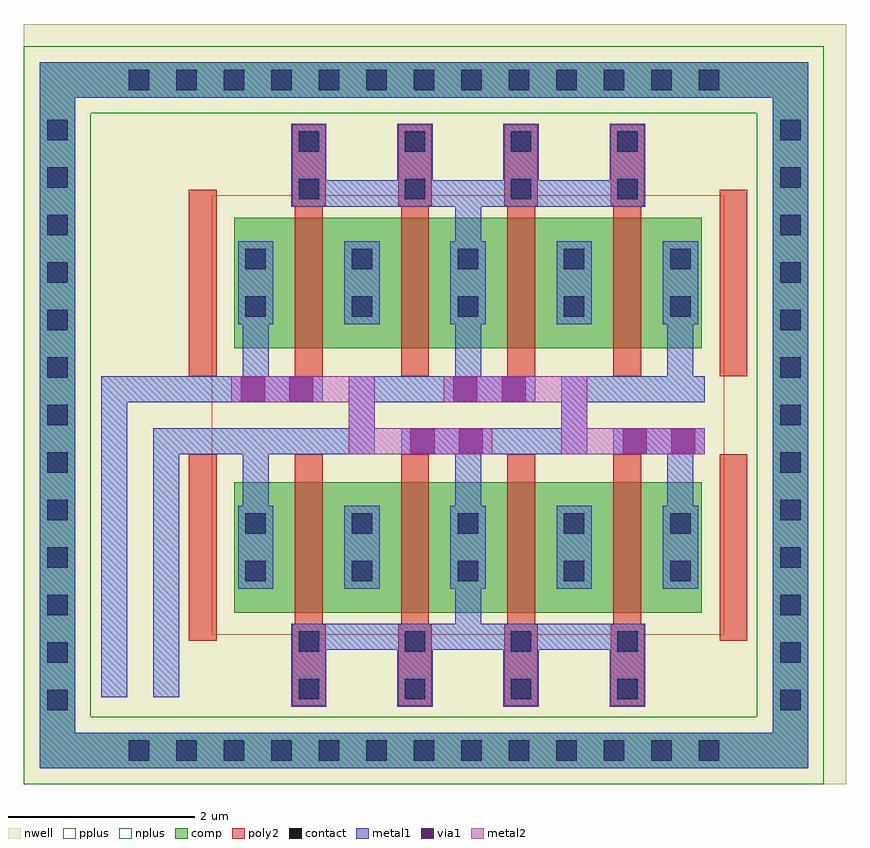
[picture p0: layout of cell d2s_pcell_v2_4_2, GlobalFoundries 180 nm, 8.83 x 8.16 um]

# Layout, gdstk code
from math import pi, radians
import gdstk
lib = gdstk.Library(unit=1e-6, precision=5e-09)
def R(c, l, rs):  # rectangles x0, y0, x1, y1
    for r in rs: c.add(gdstk.rectangle(r[:2], r[2:], *l))
def A(c, l, x, y, w, h, nx, ny, dx, dy):  # array of equal rectangles
    R(c, l, [(x+i*dx, y+j*dy, x+i*dx+w, y+j*dy+h) for i in range(nx) for j in range(ny)])
nwell = (21, 0)
comp = (22, 0)
poly2 = (30, 0)
pplus = (31, 0)
nplus = (32, 0)
contact = (33, 0)
metal1 = (34, 0)
via1 = (35, 0)
metal2 = (36, 0)

m1_m2_cross_pair = lib.new_cell('M1_M2_cross_pair')
R(m1_m2_cross_pair, via1, [(1.92,0.01,2.18,0.27), (2.44,0.01,2.7,0.27), (0.1,0.57,0.36,0.83), (0.62,0.57,0.88,0.83)])
m1_m2_cross_pair.add(gdstk.FlexPath([(0,0.14),(1.4,0.14),(1.4,0.7),(2.8,0.7)], 0.28, ends="flush", simple_path=True, layer=34, datatype=0))  # metal1
m1_m2_cross_pair.add(gdstk.FlexPath([(0,0.7),(0.98,0.7)], 0.28, ends="flush", simple_path=True, layer=34, datatype=0))  # metal1
m1_m2_cross_pair.add(gdstk.FlexPath([(1.82,0.14),(2.8,0.14)], 0.28, ends="flush", simple_path=True, layer=34, datatype=0))  # metal1
m1_m2_cross_pair.add(gdstk.FlexPath([(0,0.7),(1.4,0.7),(1.4,0.14),(2.8,0.14)], 0.28, ends="flush", simple_path=True, layer=36, datatype=0))  # metal2

d2s_pcell_1_2 = lib.new_cell('d2s_pcell_1$2')
R(d2s_pcell_1_2, comp, [(0,0.3,0.46,1.7), (0.46,0.3,1.14,1.7), (1.14,0.3,1.6,1.7)])
R(d2s_pcell_1_2, poly2, [(0.65,0,0.95,2)])
R(d2s_pcell_1_2, contact, [(0.12,0.635,0.34,0.855), (1.26,0.635,1.48,0.855), (0.12,1.145,0.34,1.365), (1.26,1.145,1.48,1.365)])
R(d2s_pcell_1_2, metal1, [(0.04,0.555,0.42,1.445), (1.18,0.555,1.56,1.445)])

d2s_pcell_v2_4 = lib.new_cell('d2s_pcell_v2_4')
A(d2s_pcell_v2_4, poly2, 1.11, 1.83, 0.36, 0.87, 4, 1, 1.14, 0)
R(d2s_pcell_v2_4, poly2, [(0,0,0.3,2), (5.7,0,6,2)])
A(d2s_pcell_v2_4, contact, 1.18, 1.9, 0.22, 0.22, 4, 2, 1.14, 0.51)
A(d2s_pcell_v2_4, metal1, 1.1, 1.82, 0.38, 0.89, 4, 1, 1.14, 0)
d2s_pcell_v2_4.add(gdstk.FlexPath([(3,1.445),(3,1.82)], 0.28, ends="flush", simple_path=True, layer=34, datatype=0))  # metal1
d2s_pcell_v2_4.add(gdstk.FlexPath([(1.48,1.96),(4.52,1.96)], 0.28, ends="flush", simple_path=True, layer=34, datatype=0))  # metal1
d2s_pcell_v2_4.add(gdstk.Reference(d2s_pcell_1_2, (1.63,0)))
d2s_pcell_v2_4.add(gdstk.Reference(d2s_pcell_1_2, (0.49,0)))
d2s_pcell_v2_4.add(gdstk.Reference(d2s_pcell_1_2, (3.91,0)))
d2s_pcell_v2_4.add(gdstk.Reference(d2s_pcell_1_2, (2.77,0)))

d2s_pcell_v2_4_2 = lib.new_cell('d2s_pcell_v2_4_2')
R(d2s_pcell_v2_4_2, nwell, [(0,0,8.83,8.16)])
R(d2s_pcell_v2_4_2, pplus, [(2.02,1.6,7.52,6.32)])
A(d2s_pcell_v2_4_2, contact, 1.125, 0.25, 0.22, 0.22, 13, 2, 0.51, 7.2)
A(d2s_pcell_v2_4_2, contact, 0.25, 0.79, 0.22, 0.22, 1, 13, 0, 0.51)
A(d2s_pcell_v2_4_2, contact, 8.12, 0.79, 0.22, 0.22, 1, 13, 0, 0.51)
d2s_pcell_v2_4_2.add(gdstk.FlexPath([(1.53,3.54),(1.53,0.93)], 0.28, ends="flush", simple_path=True, layer=34, datatype=0))  # metal1
d2s_pcell_v2_4_2.add(gdstk.FlexPath([(2.23,3.68),(1.39,3.68)], 0.28, ends="flush", simple_path=True, layer=34, datatype=0))  # metal1
d2s_pcell_v2_4_2.add(gdstk.FlexPath([(2.23,4.24),(1.11,4.24)], 0.28, ends="flush", simple_path=True, layer=34, datatype=0))  # metal1
d2s_pcell_v2_4_2.add(gdstk.FlexPath([(0.97,4.38),(0.97,0.93)], 0.28, ends="flush", simple_path=True, layer=34, datatype=0))  # metal1
d2s_pcell_v2_4_2.add(gdstk.FlexPath([(4.77,4.935),(4.77,4.38)], 0.28, ends="flush", simple_path=True, layer=34, datatype=0))  # metal1
d2s_pcell_v2_4_2.add(gdstk.FlexPath([(8.23,7.75),(8.23,0.36),(0.36,0.36),(0.36,7.56),(8.04,7.56)], 0.38, ends="flush", simple_path=True, layer=34, datatype=0))  # metal1
d2s_pcell_v2_4_2.add(gdstk.FlexPath([(4.77,3.54),(4.77,2.985)], 0.28, ends="flush", simple_path=True, layer=34, datatype=0))  # metal1
d2s_pcell_v2_4_2.add(gdstk.FlexPath([(2.49,3.54),(2.49,2.985)], 0.28, ends="flush", simple_path=True, layer=34, datatype=0))  # metal1
d2s_pcell_v2_4_2.add(gdstk.FlexPath([(2.49,4.935),(2.49,4.38)], 0.28, ends="flush", simple_path=True, layer=34, datatype=0))  # metal1
d2s_pcell_v2_4_2.add(gdstk.FlexPath([(7.05,3.54),(7.05,2.985)], 0.28, ends="flush", simple_path=True, layer=34, datatype=0))  # metal1
d2s_pcell_v2_4_2.add(gdstk.FlexPath([(7.05,4.935),(7.05,4.38)], 0.28, ends="flush", simple_path=True, layer=34, datatype=0))  # metal1
d2s_pcell_v2_4_2.add(gdstk.FlexPath([(8.23,7.75),(8.23,0.36),(0.36,0.36),(0.36,7.56),(8.04,7.56)], 0.38, ends="flush", simple_path=True, layer=22, datatype=0))  # comp
d2s_pcell_v2_4_2.add(gdstk.FlexPath([(8.23,7.92),(8.23,0.36),(0.36,0.36),(0.36,7.56),(8.59,7.56)], 0.72, ends="flush", simple_path=True, layer=32, datatype=0))  # nplus
d2s_pcell_v2_4_2.add(gdstk.Reference(m1_m2_cross_pair, (4.51,3.54)))
d2s_pcell_v2_4_2.add(gdstk.Reference(d2s_pcell_v2_4, (7.77,4.38), rotation=pi, x_reflection=True))
d2s_pcell_v2_4_2.add(gdstk.Reference(m1_m2_cross_pair, (2.23,3.54)))
d2s_pcell_v2_4_2.add(gdstk.Reference(d2s_pcell_v2_4, (7.77,3.54), rotation=pi))

lib.write_gds('d2s_pcell_v2_4_2.gds')
